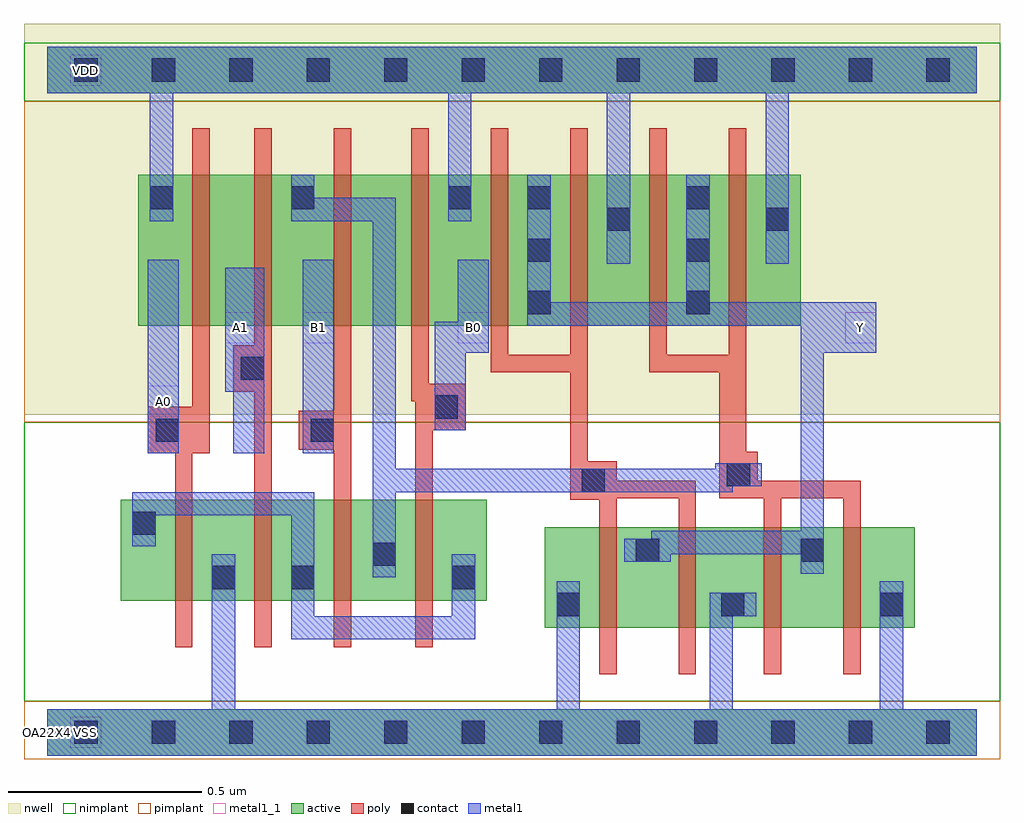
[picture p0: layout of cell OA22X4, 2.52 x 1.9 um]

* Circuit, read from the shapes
.subckt OA22X4 A0 A1 B0 B1 VDD VSS Y
M1 VSS A0 n1 VSS nfet w=0.26u l=0.045u
M2 n1 A1 VSS VSS nfet w=0.26u l=0.045u
M3 n2 B1 n1 VSS nfet w=0.26u l=0.045u
M4 n1 B0 n2 VSS nfet w=0.26u l=0.045u
M5 Y n2 VSS VSS nfet w=0.26u l=0.045u m=4
M6 n3 A0 VDD VDD pfet w=0.39u l=0.045u
M7 n2 A1 n3 VDD pfet w=0.39u l=0.045u
M8 n4 B1 n2 VDD pfet w=0.39u l=0.045u
M9 VDD B0 n4 VDD pfet w=0.39u l=0.045u
M10 Y n2 VDD VDD pfet w=0.39u l=0.045u m=4
.ends

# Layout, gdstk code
import gdstk
lib = gdstk.Library(unit=1e-6, precision=5e-10)
def R(c, l, rs):  # rectangles x0, y0, x1, y1
    for r in rs: c.add(gdstk.rectangle(r[:2], r[2:], *l))
def A(c, l, x, y, w, h, nx, ny, dx, dy):  # array of equal rectangles
    R(c, l, [(x+i*dx, y+j*dy, x+i*dx+w, y+j*dy+h) for i in range(nx) for j in range(ny)])
def P(c, l, *ps):  # polygons
    for p in ps: c.add(gdstk.Polygon(p, *l))
active = (1, 0)
nwell = (2, 0)
poly = (3, 0)
nimplant = (4, 0)
pimplant = (5, 0)
contact = (6, 0)
metal1 = (7, 0)
metal1_1 = (7, 1)

oa22x4 = lib.new_cell('OA22X4')
R(oa22x4, active, [(0,-0.06,2.4,0.06), (1.285,0.27,2.24,0.53), (0.19,0.34,1.135,0.6), (0.235,1.05,1.945,1.44), (0,1.65,2.4,1.77)])
R(oa22x4, nwell, [(-0.06,0.82,2.46,1.83)])
P(oa22x4, poly, [(0.375,1.56),(0.42,1.56),(0.42,0.72),(0.375,0.72),(0.375,0.22),(0.33,0.22),(0.33,0.72),(0.26,0.72),(0.26,0.84),(0.375,0.84)],
  [(0.535,1.56),(0.58,1.56),(0.58,0.22),(0.535,0.22),(0.535,0.88),(0.48,0.88),(0.48,1),(0.535,1)],
  [(0.74,1.56),(0.785,1.56),(0.785,0.22),(0.74,0.22),(0.74,0.73),(0.65,0.73),(0.65,0.83),(0.74,0.83)],
  [(0.94,1.56),(0.985,1.56),(0.985,0.9),(1.08,0.9),(1.08,0.78),(0.995,0.78),(0.995,0.22),(0.95,0.22),(0.95,0.855),(0.94,0.855)],
  [(1.145,1.56),(1.19,1.56),(1.19,0.975),(1.35,0.975),(1.35,1.56),(1.395,1.56),(1.395,0.7),(1.47,0.7),(1.47,0.65),(1.675,0.65),(1.675,0.15),(1.63,0.15),(1.63,0.605),(1.47,0.605),(1.47,0.15),(1.425,0.15),(1.425,0.6),(1.35,0.6),(1.35,0.93),(1.145,0.93)],
  [(1.555,1.56),(1.6,1.56),(1.6,0.975),(1.76,0.975),(1.76,1.56),(1.805,1.56),(1.805,0.725),(1.835,0.725),(1.835,0.65),(2.1,0.65),(2.1,0.15),(2.055,0.15),(2.055,0.605),(1.895,0.605),(1.895,0.15),(1.85,0.15),(1.85,0.605),(1.735,0.605),(1.735,0.93),(1.555,0.93)])
R(oa22x4, nimplant, [(-0.06,0.08,2.46,0.8), (-0.06,1.63,2.46,1.78)])
R(oa22x4, pimplant, [(-0.06,-0.07,2.46,0.08), (-0.06,0.8,2.46,1.63)])
A(oa22x4, contact, 0.07, -0.03, 0.06, 0.06, 12, 2, 0.2, 1.71)
A(oa22x4, contact, 1.24, 1.08, 0.06, 0.06, 1, 3, 0, 0.135)
A(oa22x4, contact, 1.65, 1.08, 0.06, 0.06, 1, 3, 0, 0.135)
R(oa22x4, contact, [(1.315,0.3,1.375,0.36), (1.74,0.3,1.8,0.36), (2.15,0.3,2.21,0.36), (0.425,0.37,0.485,0.43), (0.63,0.37,0.69,0.43), (1.045,0.37,1.105,0.43), (0.84,0.43,0.9,0.49), (1.52,0.44,1.58,0.5), (1.945,0.44,2.005,0.5), (0.22,0.51,0.28,0.57), (1.38,0.62,1.44,0.68), (1.755,0.635,1.815,0.695), (0.28,0.75,0.34,0.81), (0.68,0.75,0.74,0.81), (1,0.81,1.06,0.87), (0.5,0.91,0.56,0.97), (1.445,1.295,1.505,1.355), (1.855,1.295,1.915,1.355), (0.265,1.35,0.325,1.41), (0.63,1.35,0.69,1.41), (1.035,1.35,1.095,1.41)])
R(oa22x4, metal1, [(0.26,0.72,0.34,1.22), (0.66,0.72,0.74,1.22)])
P(oa22x4, metal1, [(0,1.77),(2.4,1.77),(2.4,1.65),(1.915,1.65),(1.915,1.21),(1.855,1.21),(1.855,1.65),(1.505,1.65),(1.505,1.21),(1.445,1.21),(1.445,1.65),(1.095,1.65),(1.095,1.32),(1.035,1.32),(1.035,1.65),(0.325,1.65),(0.325,1.32),(0.265,1.32),(0.265,1.65),(0,1.65)],
  [(0.63,1.44),(0.69,1.44),(0.69,1.38),(0.9,1.38),(0.9,0.68),(1.725,0.68),(1.725,0.695),(1.845,0.695),(1.845,0.635),(1.77,0.635),(1.77,0.62),(0.9,0.62),(0.9,0.4),(0.84,0.4),(0.84,1.32),(0.63,1.32)],
  [(1.24,1.44),(1.3,1.44),(1.3,1.11),(1.65,1.11),(1.65,1.44),(1.71,1.44),(1.71,1.11),(2.14,1.11),(2.14,0.98),(2.005,0.98),(2.005,0.41),(1.945,0.41),(1.945,0.46),(1.61,0.46),(1.61,0.44),(1.49,0.44),(1.49,0.5),(1.56,0.5),(1.56,0.52),(1.945,0.52),(1.945,1.05),(1.24,1.05)],
  [(0.46,1.2),(0.56,1.2),(0.56,0.72),(0.48,0.72),(0.48,0.88),(0.46,0.88)],
  [(1.06,1.22),(1.14,1.22),(1.14,0.98),(1.08,0.98),(1.08,0.78),(1,0.78),(1,1.06),(1.06,1.06)],
  [(0.22,0.62),(0.69,0.62),(0.69,0.3),(1.045,0.3),(1.045,0.46),(1.105,0.46),(1.105,0.24),(0.63,0.24),(0.63,0.56),(0.28,0.56),(0.28,0.48),(0.22,0.48)],
  [(0.425,0.46),(0.485,0.46),(0.485,0.06),(1.315,0.06),(1.315,0.39),(1.375,0.39),(1.375,0.06),(1.71,0.06),(1.71,0.36),(1.83,0.36),(1.83,0.3),(1.77,0.3),(1.77,0.06),(2.15,0.06),(2.15,0.39),(2.21,0.39),(2.21,0.06),(2.4,0.06),(2.4,-0.06),(0,-0.06),(0,0.06),(0.425,0.06)])
R(oa22x4, metal1_1, [(0.06,-0.04,0.14,0.04), (0.26,0.815,0.34,0.895), (0.46,1.005,0.54,1.085), (0.66,1.005,0.74,1.085), (1.06,1.005,1.14,1.085), (2.06,1.005,2.14,1.085), (0.06,1.67,0.14,1.75)])
oa22x4.add(gdstk.Label('Y', (2.1,1.045), layer=7, texttype=1))
oa22x4.add(gdstk.Label('B0', (1.1,1.045), layer=7, texttype=1))
oa22x4.add(gdstk.Label('A1', (0.5,1.045), layer=7, texttype=1))
oa22x4.add(gdstk.Label('A0', (0.3,0.855), layer=7, texttype=1))
oa22x4.add(gdstk.Label('B1', (0.7,1.045), layer=7, texttype=1))
oa22x4.add(gdstk.Label('VDD', (0.1,1.71), layer=7, texttype=1))
oa22x4.add(gdstk.Label('VSS', (0.1,0), layer=7, texttype=1))
oa22x4.add(gdstk.Label('OA22X4', (0,0), layer=63, texttype=0))

lib.write_gds('OA22X4.gds')
